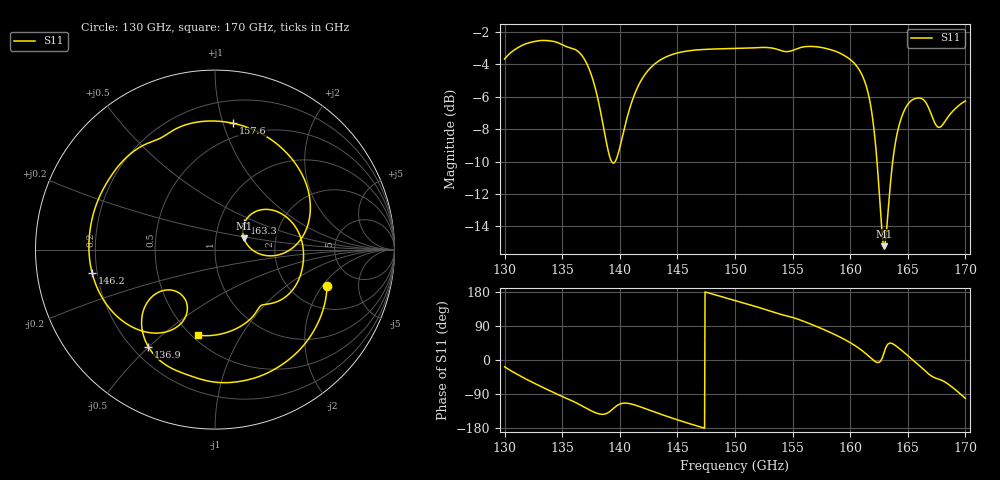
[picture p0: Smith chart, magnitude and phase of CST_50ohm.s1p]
! TOUCHSTONE file generated by CST MICROWAVE STUDIO
! Date and time: Fri Nov 20 15:11:46 2026
! Project name: Matched_Stub_4x4.cst
! Parameters = {board_x_max=2.4; board_x_min=-3.12; eps_r=3.5; feed_width=0.1688; first_split_x=-2.9; inlet_rail_separation=0.225; inset_gap=0.02; inset_length=0.165; launch_length=0.5; loss_tangent=0.0027; mesh_box=30; mesh_near=20; metal_thickness=0.002; patch_length=0.5148; patch_width=0.667; pit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
! Header version: 2024
! Port assignment regex: !\s*Touchstone port\s*([0-9]+)\s*=\s*(CST MWS port|CST DES external port|CST DES block port)\s*(.+)\s* \(\"(.*)\"\)(\s*mode\s*([0-9]+))?.*
! Touchstone port assignment:
! Touchstone port 1 = CST MWS port 1 ("50ohm_microstrip")
# GHz S RI R 50
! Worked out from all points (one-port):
!   1001 points, 130 GHz to 170 GHz, reference 50 ohm
!   lowest |S11| = -15.2 dB at 163 GHz (marker M1), VSWR 1.42, Z = 68.6 + j8.86 ohm
!   |S11| at or under -10 dB: 139.2946 GHz to 139.5937 GHz (299 MHz wide, 0.214 % of centre); 162.3 GHz to 163.7 GHz (1.361 GHz wide, 0.835 % of centre)
!   S11 on the Smith chart (normalised r, x): 130 GHz: 3.11, -2.23; 136.9 GHz: 0.26, -0.50; 146.2 GHz: 0.18, -0.09; 157.6 GHz: 0.38, +1.08; 163.3 GHz: 1.32, +0.41; 170 GHz: 0.53, -0.67
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130  0.6239 -0.2034
131.2  0.5493 -0.4543
132.64  0.3455 -0.6586
135  -0.0801 -0.7219
136.92  -0.3719 -0.5402
137.76  -0.4066 -0.3725
138.64  -0.315 -0.2376
139.36  -0.2026 -0.2399
140  -0.1547 -0.3137
142.08  -0.3482 -0.4645
145  -0.6345 -0.2577
146.2  -0.6851 -0.1281
150  -0.6511 0.2773
152.96  -0.458 0.5439
155  -0.2645 0.6453
157.6  0.1016 0.7037
160  0.4552 0.4692
161.48  0.513 0.1242
162.28  0.3302 -0.0336
162.96  0.1617 0.0627
163.28  0.1634 0.1468
164.04  0.3094 0.2221
165  0.4657 0.0956
165.92  0.4853 -0.1084
166.8  0.3726 -0.2771
167.76  0.252 -0.3153
168.68  0.1696 -0.4097
170  -0.0952 -0.4771
